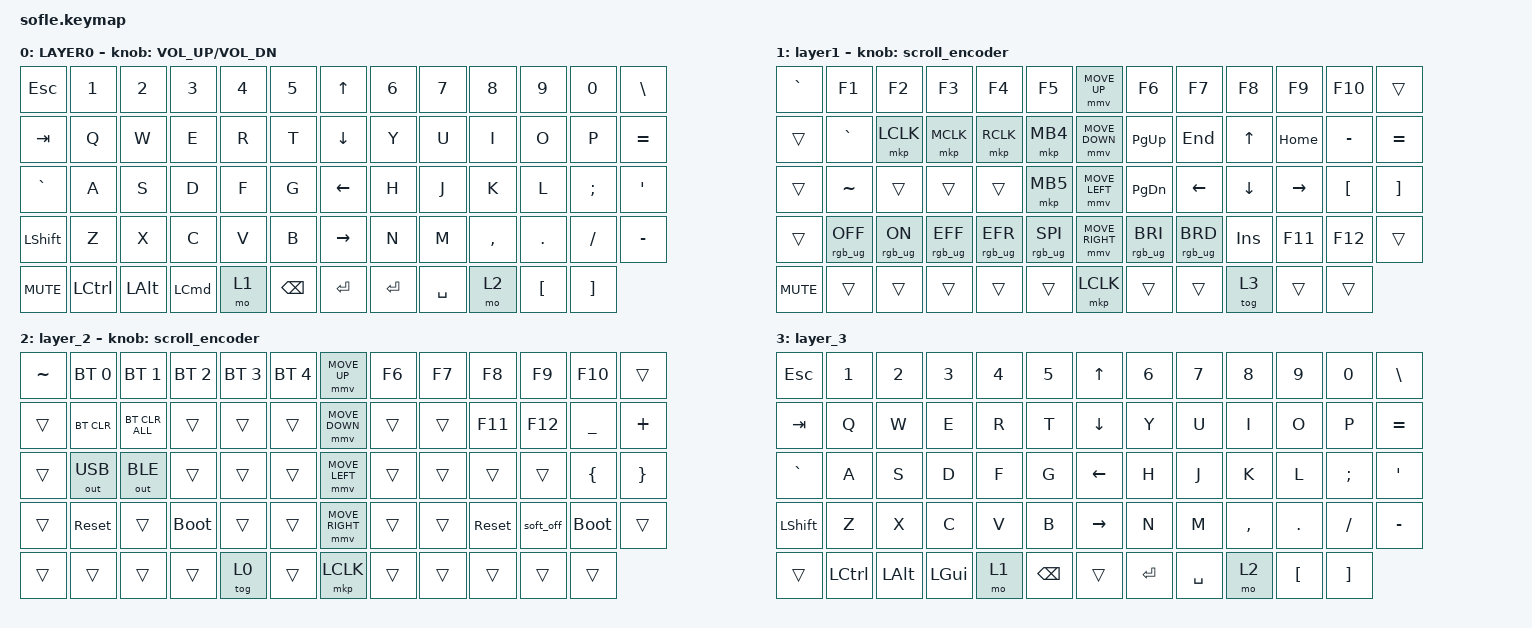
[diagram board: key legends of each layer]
#include <behaviors/mouse_keys.dtsi>
#include <behaviors.dtsi>
#include <dt-bindings/zmk/bt.h>
#include <dt-bindings/zmk/keys.h>
#include <dt-bindings/zmk/mouse.h>
#include <dt-bindings/zmk/outputs.h>
#include <dt-bindings/zmk/rgb.h>

#define ZMK_MOUSE_DEFAULT_MOVE_VAL 1200  // 600
#define ZMK_MOUSE_DEFAULT_SCRL_VAL 20    // 10
#define U_MS_U &mmv MOVE_UP
#define U_MS_D &mmv MOVE_DOWN
#define U_MS_L &mmv MOVE_LEFT
#define U_MS_R &mmv MOVE_RIGHT
#define ZMK_MOUSE_DEFAULT_MOVE_VAL 1200  //  600
#define ZMK_MOUSE_DEFAULT_SCRL_VAL 20    // 10

/ {
    behaviors {
        mmv {
            acceleration-exponent = <1>;      // 1
            time-to-max-speed-ms = <900>;    // 40
            delay-ms = <0>;                   // 0
        };

        msc {
            acceleration-exponent = <1>;      // 0
            time-to-max-speed-ms = <400>;      // 500
            delay-ms = <0>;                   //   10
        };
    };

    scroll_encoder: scroll_encoder {
        compatible = "zmk,behavior-sensor-rotate";
        #sensor-binding-cells = <0>;
        bindings = <&msc SCRL_DOWN>, <&msc SCRL_UP>;

        tap-ms = <30>;
    };

    macros {
        new_macro: new_macro {
            compatible = "zmk,behavior-macro";
            #binding-cells = <0>;
            bindings = <&none>;
            label = "NEW_MACRO";
        };
    };

    keymap {
        compatible = "zmk,keymap";

        layer0 {
            bindings = <
&kp ESC     &kp N1     &kp N2        &kp N3            &kp N4  &kp N5           &kp UP_ARROW     &kp N6     &kp N7     &kp N8     &kp N9            &kp N0             &kp BSLH
&kp TAB     &kp Q      &kp W         &kp E             &kp R   &kp T            &kp DOWN_ARROW   &kp Y      &kp U      &kp I      &kp O             &kp P              &kp EQUAL
&kp GRAVE   &kp A      &kp S         &kp D             &kp F   &kp G            &kp LEFT_ARROW   &kp H      &kp J      &kp K      &kp L             &kp SEMI           &kp APOS
&kp LSHFT   &kp Z      &kp X         &kp C             &kp V   &kp B            &kp RIGHT_ARROW  &kp N      &kp M      &kp COMMA  &kp DOT           &kp FSLH           &kp MINUS
&kp C_MUTE  &kp LCTRL  &kp LEFT_ALT  &kp LEFT_COMMAND  &mo 1   &kp BACKSPACE    &kp ENTER        &kp ENTER  &kp SPACE  &mo 2      &kp LEFT_BRACKET  &kp RIGHT_BRACKET
            >;

            sensor-bindings = <&inc_dec_kp C_VOLUME_UP C_VOL_DN>;
            display-name = "LAYER0";
        };

        layer_1 {
            bindings = <
&kp GRAVE   &kp F1           &kp F2          &kp F3           &kp F4           &kp F5             &mmv MOVE_UP     &kp F6           &kp F7           &kp F8      &kp F9     &kp F10           &trans
&trans      &kp GRAVE        &mkp LCLK       &mkp MCLK        &mkp RCLK        &mkp MB4           &mmv MOVE_DOWN   &kp PG_UP        &kp END          &kp UP      &kp HOME   &kp MINUS         &kp EQUAL
&trans      &kp TILDE        &trans          &trans           &trans           &mkp MB5           &mmv MOVE_LEFT   &kp PG_DN        &kp LEFT         &kp DOWN    &kp RIGHT  &kp LEFT_BRACKET  &kp RIGHT_BRACKET
&trans      &rgb_ug RGB_OFF  &rgb_ug RGB_ON  &rgb_ug RGB_EFF  &rgb_ug RGB_EFR  &rgb_ug RGB_SPI    &mmv MOVE_RIGHT  &rgb_ug RGB_BRI  &rgb_ug RGB_BRD  &kp INSERT  &kp F11    &kp F12           &trans
&kp C_MUTE  &trans           &trans          &trans           &trans           &trans             &mkp LCLK        &trans           &trans           &tog 3      &trans     &trans
            >;

            display-name = "layer1";
            sensor-bindings = <&scroll_encoder>;
        };

        layer_2 {
            bindings = <
&kp TILDE  &bt BT_SEL 0  &bt BT_SEL 1    &bt BT_SEL 2  &bt BT_SEL 3  &bt BT_SEL 4    &mmv MOVE_UP     &kp F6  &kp F7  &kp F8      &kp F9     &kp F10      &trans
&trans     &bt BT_CLR    &bt BT_CLR_ALL  &trans        &trans        &trans          &mmv MOVE_DOWN   &trans  &trans  &kp F11     &kp F12    &kp UNDER    &kp PLUS
&trans     &out OUT_USB  &out OUT_BLE    &trans        &trans        &trans          &mmv MOVE_LEFT   &trans  &trans  &trans      &trans     &kp LBRC     &kp RBRC
&trans     &sys_reset    &trans          &bootloader   &trans        &trans          &mmv MOVE_RIGHT  &trans  &trans  &sys_reset  &soft_off  &bootloader  &trans
&trans     &trans        &trans          &trans        &tog 0        &trans          &mkp LCLK        &trans  &trans  &trans      &trans     &trans
            >;

            sensor-bindings = <&scroll_encoder>;
        };

        layer_3 {
            bindings = <
&kp ESC    &kp N1     &kp N2    &kp N3    &kp N4  &kp N5      &kp UP     &kp N6   &kp N7     &kp N8     &kp N9    &kp N0    &kp BSLH
&kp TAB    &kp Q      &kp W     &kp E     &kp R   &kp T       &kp DOWN   &kp Y    &kp U      &kp I      &kp O     &kp P     &kp EQUAL
&kp GRAVE  &kp A      &kp S     &kp D     &kp F   &kp G       &kp LEFT   &kp H    &kp J      &kp K      &kp L     &kp SEMI  &kp SQT
&kp LSHFT  &kp Z      &kp X     &kp C     &kp V   &kp B       &kp RIGHT  &kp N    &kp M      &kp COMMA  &kp DOT   &kp FSLH  &kp MINUS
&trans     &kp LCTRL  &kp LALT  &kp LGUI  &mo 1   &kp BSPC    &trans     &kp RET  &kp SPACE  &mo 2      &kp LBKT  &kp RBKT
            >;
        };
    };
};
